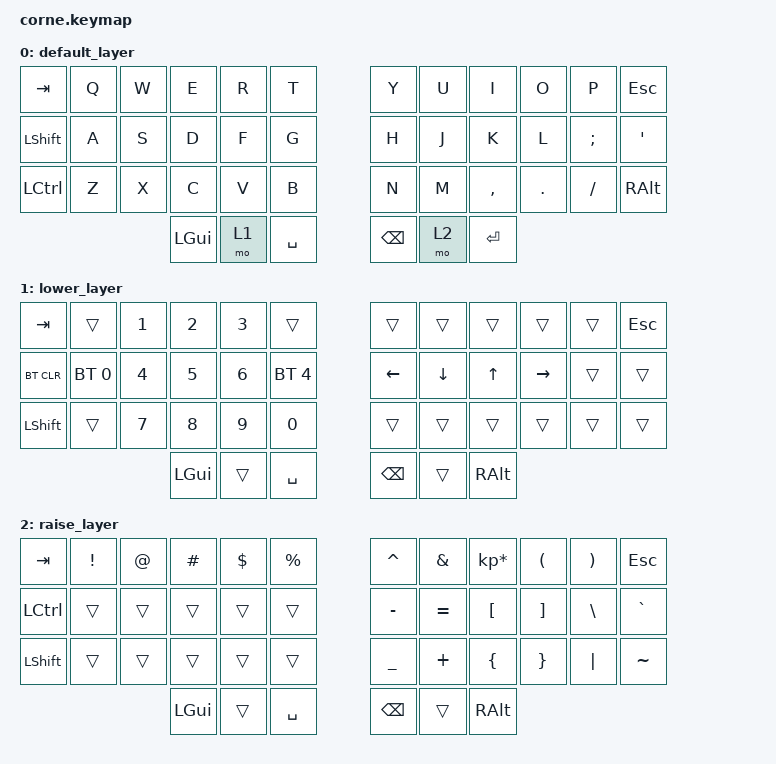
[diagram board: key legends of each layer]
/*
 * Copyright (c) 2020 The ZMK Contributors
 *
 * SPDX-License-Identifier: MIT
 */

#include <behaviors.dtsi>
#include <dt-bindings/zmk/keys.h>
#include <dt-bindings/zmk/bt.h>

/* possible fix? */
&nice_view_spi {
    cs-gpios = <&pro_micro 16 GPIO_ACTIVE_HIGH>;
};

/ {
        keymap {
                compatible = "zmk,keymap";

                default_layer {
// -----------------------------------------------------------------------------------------
// |  TAB |  Q  |  W  |  E  |  R  |  T  |   |  Y  |  U   |  I  |  O  |  P  | ESC  |
// | CTRL |  A  |  S  |  D  |  F  |  G  |   |  H  |  J   |  K  |  L  |  ;  |  '   |
// | SHFT |  Z  |  X  |  C  |  V  |  B  |   |  N  |  M   |  ,  |  .  |  /  | RALT |
//                    | GUI | LWR | SPC |   |BSCP | RSE  | ENT |
                        bindings = <
   &kp TAB   &kp Q &kp W &kp E &kp R &kp T   &kp Y &kp U  &kp I     &kp O   &kp P    &kp ESC
   &kp LSHFT &kp A &kp S &kp D &kp F &kp G   &kp H &kp J  &kp K     &kp L   &kp SEMI &kp SQT
   &kp LCTRL &kp Z &kp X &kp C &kp V &kp B   &kp N &kp M  &kp COMMA &kp DOT &kp FSLH &kp RALT
                  &kp LGUI &mo 1 &kp SPACE   &kp BSPC &mo 2 &kp RET
                        >;
                };
                lower_layer {
//removing bt layers, may wanna use them in the future
// -----------------------------------------------------------------------------------------
// |  TAB |     |  1  |  2  |  3  |     |   |  6  |  7  |  8  |  9  |  0  | ESC |
// | BTCLR| BT1 |  4  |  5  |  6  | BT5 |   | LFT | DWN |  UP | RGT |     |      |
// | SHFT |     |  7  |  8  |  9  |  0  |   |     |     |     |     |     |      |
//                    | GUI |     | SPC |   | BSPC |     | ALT |
                        bindings = <
   &kp TAB    &trans       &kp N1       &kp N2       &kp N3       &trans         &trans   &trans   &trans &trans    &trans &kp ESC
   &bt BT_CLR &bt BT_SEL 0 &kp N4       &kp N5       &kp N6       &bt BT_SEL 4   &kp LEFT &kp DOWN &kp UP &kp RIGHT &trans &trans
   &kp LSHFT  &trans       &kp N7       &kp N8       &kp N9       &kp N0         &trans   &trans   &trans &trans    &trans &trans
                                    &kp LGUI     &trans       &kp SPACE      &kp BSPC  &trans   &kp RALT
                        >;
                };

                raise_layer {
// -----------------------------------------------------------------------------------------
// |  TAB |  !  |  @  |  #  |  $  |  %  |   |  ^  |  &  |  *  |  (  |  )  | ESC |
// | CTRL |     |     |     |     |     |   |  -  |  =  |  [  |  ]  |  \  |  `   |
// | SHFT |     |     |     |     |     |   |  _  |  +  |  {  |  }  | "|" |  ~   |
//                    | GUI |     | SPC |   | BSPC |     | ALT |
                        bindings = <
   &kp  TAB  &kp EXCL &kp AT &kp HASH &kp DLLR &kp PRCNT   &kp CARET &kp AMPS  &kp KP_MULTIPLY &kp LPAR &kp RPAR &kp ESC
   &kp LCTRL &trans   &trans &trans   &trans   &trans      &kp MINUS &kp EQUAL &kp LBKT        &kp RBKT &kp BSLH &kp GRAVE
   &kp LSHFT &trans   &trans &trans   &trans   &trans      &kp UNDER &kp PLUS  &kp LBRC        &kp RBRC &kp PIPE &kp TILDE
                             &kp LGUI &trans   &kp SPACE   &kp BSPC   &trans    &kp RALT
                        >;
                };
        };
};
